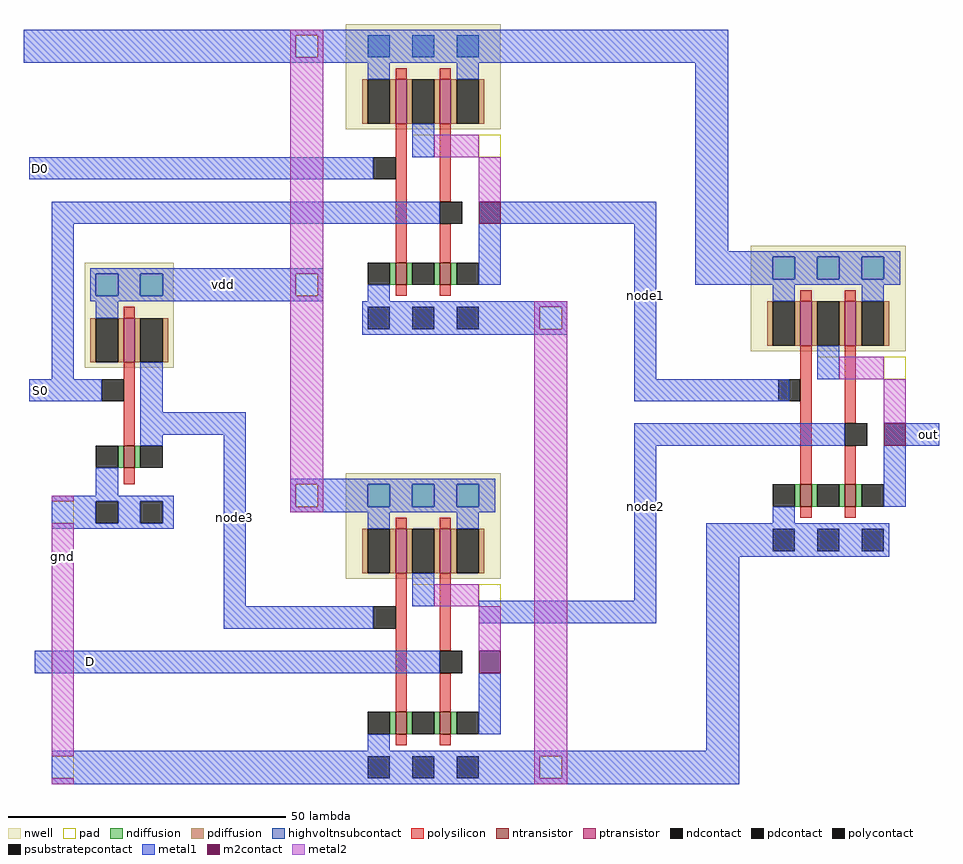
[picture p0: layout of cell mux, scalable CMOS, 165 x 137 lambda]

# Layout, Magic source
magic
tech scmos
<< nwell >>
rect -44 -6 -28 13
<< polysilicon >>
rect -37 3 -35 5
rect -37 -20 -35 -5
rect -37 -27 -35 -24
<< ndiffusion >>
rect -38 -24 -37 -20
rect -35 -24 -34 -20
<< pdiffusion >>
rect -43 -5 -42 3
rect -38 -5 -37 3
rect -35 -5 -34 3
rect -30 -5 -29 3
<< metal1 >>
rect -55 49 72 55
rect -54 28 0 32
rect -50 20 0 24
rect 27 20 59 24
rect -50 -8 -46 20
rect -43 11 -1 12
rect -43 7 -42 11
rect -38 7 -34 11
rect -30 7 -1 11
rect -43 6 -1 7
rect -42 3 -38 6
rect 6 0 43 6
rect -54 -12 -41 -8
rect -34 -14 -30 -5
rect 55 -8 59 20
rect 66 15 72 49
rect 66 9 79 15
rect 55 -12 83 -8
rect -34 -18 -15 -14
rect -34 -20 -30 -18
rect -42 -29 -38 -24
rect -50 -30 -28 -29
rect -50 -34 -42 -30
rect -38 -34 -34 -30
rect -30 -34 -28 -30
rect -50 -35 -28 -34
rect -19 -49 -15 -18
rect 55 -20 83 -16
rect 100 -20 110 -16
rect -7 -32 6 -26
rect 55 -48 59 -20
rect -19 -53 1 -49
rect 27 -52 59 -48
rect 68 -40 101 -34
rect -53 -61 1 -57
rect 68 -75 74 -40
rect -50 -81 74 -75
<< metal2 >>
rect -7 54 -1 55
rect -7 50 -6 54
rect -2 50 -1 54
rect -7 11 -1 50
rect -7 7 -6 11
rect -2 7 -1 11
rect -7 -27 -1 7
rect -50 -30 -46 -29
rect -7 -31 -6 -27
rect -2 -31 -1 -27
rect -7 -32 -1 -31
rect 37 5 43 6
rect 37 1 38 5
rect 42 1 43 5
rect -50 -76 -46 -34
rect -50 -81 -46 -80
rect 37 -76 43 1
rect 37 -80 38 -76
rect 42 -80 43 -76
rect 37 -81 43 -80
<< ntransistor >>
rect -37 -24 -35 -20
<< ptransistor >>
rect -37 -5 -35 3
<< polycontact >>
rect -41 -12 -37 -8
<< ndcontact >>
rect -42 -24 -38 -20
rect -34 -24 -30 -20
<< pdcontact >>
rect -42 -5 -38 3
rect -34 -5 -30 3
<< psubstratepcontact >>
rect -42 -34 -38 -30
rect -34 -34 -30 -30
<< highvoltnsubcontact >>
rect -42 7 -38 11
rect -34 7 -30 11
<< pad >>
rect -6 50 -2 54
rect 27 20 31 24
rect -6 7 -2 11
rect -50 -34 -46 -30
rect -6 -31 -2 -27
rect 38 1 42 5
rect 27 -52 31 -48
rect -50 -80 -46 -76
rect 100 -20 104 -16
rect 38 -80 42 -76
use nand nand_0
transform 1 0 16 0 1 36
box -16 -36 15 20
use nand nand_1
transform 1 0 16 0 1 -45
box -16 -36 15 20
use nand nand_2
transform 1 0 89 0 1 -4
box -16 -36 15 20
<< labels >>
rlabel metal1 -52 30 -52 30 3 D0
rlabel metal1 -52 -10 -52 -10 3 S0
rlabel metal1 57 7 57 7 1 node1
rlabel metal1 57 -31 57 -31 1 node2
rlabel metal1 108 -18 108 -18 7 out
rlabel metal1 -17 -33 -17 -33 1 node3
rlabel metal1 -43 -59 -43 -59 1 D
rlabel metal2 -48 -40 -48 -40 1 gnd
rlabel metal1 -19 9 -19 9 1 vdd
<< end >>

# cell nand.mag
magic
tech scmos
<< nwell >>
rect -13 1 15 20
<< polysilicon >>
rect -4 10 -2 12
rect 4 10 6 12
rect -4 -23 -2 2
rect 4 -12 6 2
rect 4 -23 6 -16
rect -4 -29 -2 -27
rect 4 -29 6 -27
<< ndiffusion >>
rect -5 -27 -4 -23
rect -2 -27 -1 -23
rect 3 -27 4 -23
rect 6 -27 7 -23
<< pdiffusion >>
rect -10 2 -9 10
rect -5 2 -4 10
rect -2 2 -1 10
rect 3 2 4 10
rect 6 2 7 10
rect 11 2 12 10
<< metal1 >>
rect -12 18 14 19
rect -12 14 -9 18
rect -5 14 -1 18
rect 3 14 7 18
rect 11 14 14 18
rect -12 13 14 14
rect -9 10 -5 13
rect 7 10 11 13
rect -1 -4 3 2
rect -16 -8 -8 -4
rect -16 -16 4 -12
rect 11 -27 15 -16
rect -9 -30 -5 -27
rect -10 -31 12 -30
rect -10 -35 -9 -31
rect -5 -35 -1 -31
rect 3 -35 7 -31
rect 11 -35 12 -31
rect -10 -36 12 -35
<< metal2 >>
rect 3 -4 11 0
rect 11 -12 15 -4
<< ntransistor >>
rect -4 -27 -2 -23
rect 4 -27 6 -23
<< ptransistor >>
rect -4 2 -2 10
rect 4 2 6 10
<< polycontact >>
rect -8 -8 -4 -4
rect 4 -16 8 -12
<< ndcontact >>
rect -9 -27 -5 -23
rect -1 -27 3 -23
rect 7 -27 11 -23
<< pdcontact >>
rect -9 2 -5 10
rect -1 2 3 10
rect 7 2 11 10
<< m2contact >>
rect 11 -16 15 -12
<< psubstratepcontact >>
rect -9 -35 -5 -31
rect -1 -35 3 -31
rect 7 -35 11 -31
<< highvoltnsubcontact >>
rect -9 14 -5 18
rect -1 14 3 18
rect 7 14 11 18
<< pad >>
rect -1 -4 3 0
rect 11 -4 15 0
<< labels >>
rlabel metal1 5 16 5 16 5 vdd
rlabel metal1 5 -33 5 -33 1 gnd
rlabel metal1 -10 -6 -10 -6 1 in1
rlabel metal1 -9 -14 -9 -14 1 in2
rlabel metal2 13 -9 13 -9 7 out
<< end >>
